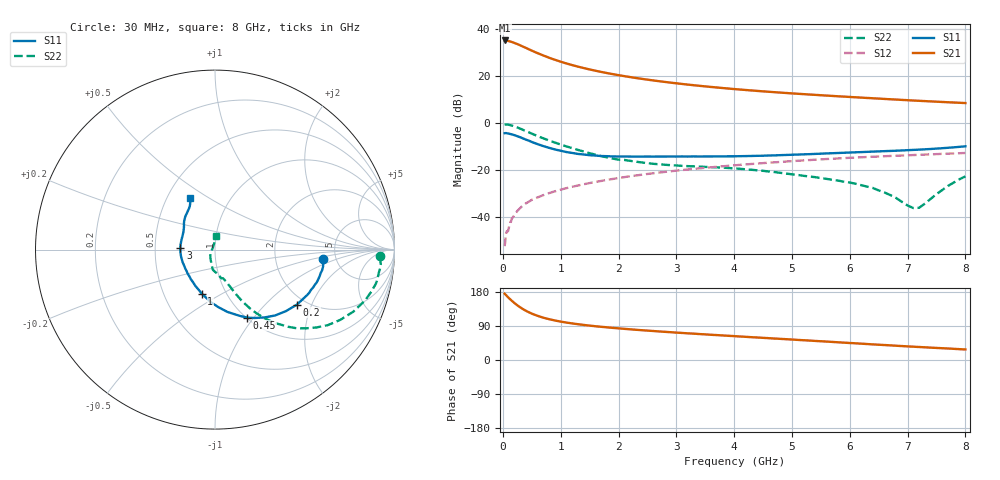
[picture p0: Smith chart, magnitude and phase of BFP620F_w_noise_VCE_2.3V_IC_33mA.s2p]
! Infineon Technologies  Discrete & RF Semiconductors
! BFP620F
! VCE =  2.3 V,  IC =  33 mA
! Common Emitter S-Parameters:  Dec 2014
# GHz  S  MA  R  50
!  f  S11  S21  S12  S22
! GHz  MAG  ANG  MAG  ANG  MAG  ANG  MAG  ANG
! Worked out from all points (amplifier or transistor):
!   95 points, 30 MHz to 8 GHz, reference 50 ohm
!   highest |S21| = 35.1 dB at 30 MHz (marker M1)
!   |S21| within 3 dB of that: start of sweep to 382.5 MHz
!   unconditionally stable (mu >= 1): 2.279 GHz to end of sweep
!   at 300 MHz: K = 0.45, MSG = 34.6 dB, |S12| = -36.1 dB
!   at 3.3 GHz: K = 1.03, MAG = 16.8 dB, |S12| = -19.6 dB
!   at 8 GHz: K = 1.06, MAG = 9.1 dB, |S12| = -12.8 dB
!   lowest NFmin = 1.20 dB at 450 MHz
!   S11 on the Smith chart (normalised r, x): 30 MHz: 3.94, -0.68; 200 MHz: 1.79, -1.57; 450 MHz: 1.01, -0.93; 1 GHz: 0.77, -0.40; 3 GHz: 0.68, +0.01; 8 GHz: 0.65, +0.42
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0.03  0.6051 -5.2  56.7 175.0  0.0024 63.4  0.92 -2.3
0.07  0.6032 -12.5  56.01 168.7  0.005 60.2  0.9215 -8.1
0.11  0.5896 -19.5  54.6 162.5  0.0064 73.6  0.9086 -13.5
0.15  0.5735 -26.0  52.85 156.9  0.009 70.0  0.8838 -18.6
0.2  0.5499 -33.9  50.2 150.3  0.011 71.9  0.8444 -24.2
0.25  0.5226 -41.1  47.48 144.3  0.0135 68.8  0.801 -29.2
0.3  0.4965 -47.7  44.66 138.9  0.0156 69.2  0.7565 -33.8
0.4  0.4413 -59.7  39.26 129.7  0.0196 67.7  0.6687 -41.0
0.45  0.4195 -64.6  36.78 125.9  0.0212 67.7  0.6307 -44.0
0.5  0.3942 -69.5  34.47 122.4  0.0232 66.6  0.5929 -46.5
0.6  0.3542 -78.7  30.46 116.5  0.0261 66.5  0.5257 -50.9
0.7  0.3218 -86.5  27.14 111.6  0.0292 66.4  0.4705 -54.3
0.8  0.2958 -93.8  24.33 107.7  0.0322 66.0  0.4231 -56.9
1  0.2564 -106.7  20.05 101.3  0.0381 65.9  0.3479 -60.9
1.4  0.2134 -128.9  14.67 92.5  0.0498 65.7  0.2466 -66.3
2  0.1934 -155.0  10.38 83.5  0.0675 64.2  0.1659 -74.4
2.7  0.1931 -175.6  7.723 75.4  0.088 61.2  0.132 -85.7
3  0.1931 177.3  6.964 72.3  0.0967 59.9  0.1247 -89.7
4.1  0.1965 157.0  5.134 62.0  0.1285 53.9  0.1061 -97.6
5.4  0.2196 141.9  3.951 50.3  0.1653 45.8  0.0704 -108.5
6.7  0.2539 128.8  3.189 38.6  0.1984 37.0  0.0293 -143.2
8  0.3184 115.8  2.649 27.8  0.2298 28.4  0.0732 87.6
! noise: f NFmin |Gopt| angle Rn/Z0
0.45  1.2  0.08  -172  0.17
0.9  1.23  0.09  -171  0.13
1.5  1.24  0.14  -149  0.13
1.8  1.25  0.14  -148  0.14
1.9  1.26  0.15  -148  0.14
2.4  1.28  0.15  215  0.16
3.5  1.34  0.16  -140  0.18
5.5  1.49  0.23  243  0.14
6  1.53  0.24  260  0.17
